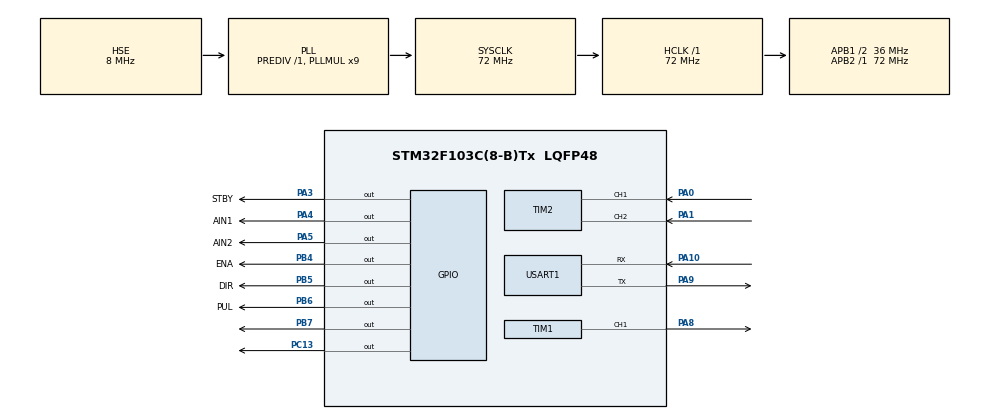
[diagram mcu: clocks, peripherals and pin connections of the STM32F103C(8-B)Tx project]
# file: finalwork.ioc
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Mcu.Family=STM32F1
Mcu.Name=STM32F103C(8-B)Tx
Mcu.Package=LQFP48
NVIC.PriorityGroup=NVIC_PRIORITYGROUP_4
NVIC.TIM1_UP_IRQn=true\:0\:0\:false\:false\:true\:true\:true\:true
PA0-WKUP.Signal=S_TIM2_CH1_ETR
PA1.Signal=S_TIM2_CH2
PA10.Mode=Asynchronous
PA10.Signal=USART1_RX
PA13.Mode=Serial_Wire
PA13.Signal=SYS_JTMS-SWDIO
PA14.Mode=Serial_Wire
PA14.Signal=SYS_JTCK-SWCLK
PA3.GPIO_Label=STBY
PA3.GPIO_PuPd=GPIO_PULLDOWN
PA3.Signal=GPIO_Output
PA4.GPIO_Label=AIN1
PA4.GPIO_PuPd=GPIO_PULLDOWN
PA4.Signal=GPIO_Output
PA5.GPIO_Label=AIN2
PA5.GPIO_PuPd=GPIO_PULLDOWN
PA5.Signal=GPIO_Output
PA8.Signal=S_TIM1_CH1
PA9.Mode=Asynchronous
PA9.Signal=USART1_TX
PB4.GPIO_Label=ENA
PB4.GPIO_PuPd=GPIO_PULLDOWN
PB4.Signal=GPIO_Output
PB5.GPIO_Label=DIR
PB5.GPIO_PuPd=GPIO_PULLDOWN
PB5.Signal=GPIO_Output
PB6.GPIO_Label=PUL
PB6.GPIO_PuPd=GPIO_PULLDOWN
PB6.Signal=GPIO_Output
PB7.GPIO_PuPd=GPIO_PULLDOWN
PB7.Signal=GPIO_Output
PC13-TAMPER-RTC.GPIO_PuPd=GPIO_PULLDOWN
PC13-TAMPER-RTC.Signal=GPIO_Output
PD0-OSC_IN.Mode=HSE-External-Oscillator
PD0-OSC_IN.Signal=RCC_OSC_IN
PD1-OSC_OUT.Mode=HSE-External-Oscillator
PD1-OSC_OUT.Signal=RCC_OSC_OUT
ProjectManager.HeapSize=0x200
ProjectManager.StackSize=0x400
ProjectManager.TargetToolchain=Makefile
RCC.AHBFreq_Value=72000000
RCC.APB1CLKDivider=RCC_HCLK_DIV2
RCC.APB1Freq_Value=36000000
RCC.APB1TimFreq_Value=72000000
RCC.APB2Freq_Value=72000000
RCC.APB2TimFreq_Value=72000000
RCC.HCLKFreq_Value=72000000
RCC.PLLMUL=RCC_PLL_MUL9
RCC.PLLSourceVirtual=RCC_PLLSOURCE_HSE
RCC.SYSCLKFreq_VALUE=72000000
RCC.SYSCLKSource=RCC_SYSCLKSOURCE_PLLCLK
RCC.USBFreq_Value=72000000
SH.S_TIM1_CH1.0=TIM1_CH1,PWM Generation1 CH1
SH.S_TIM2_CH1_ETR.0=TIM2_CH1,Encoder_Interface
SH.S_TIM2_CH2.0=TIM2_CH2,Encoder_Interface
TIM1.Channel-PWM\ Generation1\ CH1=TIM_CHANNEL_1
TIM1.Period=1000-1
TIM1.Prescaler=720-1
TIM2.EncoderMode=TIM_ENCODERMODE_TI12
TIM3.Prescaler=72-1
USART1.VirtualMode=VM_ASYNC
VP_TIM1_VS_ClockSourceINT.Mode=Internal
VP_TIM3_VS_ClockSourceINT.Mode=Internal
board=custom

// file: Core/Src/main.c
/* USER CODE BEGIN Header */
/**
  ******************************************************************************
  * @file           : main.c
  * @brief          : Main program body
  ******************************************************************************
  * @attention
  *
  * Copyright (c) 2025 STMicroelectronics.
  * All rights reserved.
  *
  * This software is licensed under terms that can be found in the LICENSE file
  * in the root directory of this software component.
  * If no LICENSE file comes with this software, it is provided AS-IS.
  *
  ******************************************************************************
  */
/* USER CODE END Header */
#include "main.h"
#include "tim.h"
#include "usart.h"
#include "gpio.h"

/* USER CODE BEGIN Includes */
#include "motor.h"
#include "step.h"
/* USER CODE END Includes */

/* USER CODE BEGIN PD */
#define DELAY_TIME 15
Motor_t motor;
/* USER CODE END PD */

void SystemClock_Config(void);

int main(void)
{

  /* MCU Configuration--------------------------------------------------------*/

  /* Reset of all peripherals, Initializes the Flash interface and the Systick. */
  HAL_Init();

  /* Configure the system clock */
  SystemClock_Config();

  /* Initialize all configured peripherals */
  MX_GPIO_Init();
  MX_TIM1_Init();
  MX_TIM2_Init();
  MX_TIM3_Init();
  MX_USART1_UART_Init();
  /* USER CODE BEGIN 2 */

  HAL_TIM_Base_Start_IT(&htim1);
  HAL_TIM_Base_Start(&htim2);
  __HAL_TIM_SET_COUNTER(&htim2,0);
  HAL_TIM_PWM_Start(&htim1,TIM_CHANNEL_1);
  HAL_TIM_Encoder_Start(&htim2,TIM_CHANNEL_1);
  HAL_TIM_Encoder_Start(&htim2,TIM_CHANNEL_2);

  Motor_Init(&motor);

  step_init();
  step_dir_set(0);
  step_enable();
  /* USER CODE END 2 */

  /* Infinite loop */
  /* USER CODE BEGIN WHILE */
  while (1)
  {

    // HAL_GPIO_WritePin(GPIOA, AIN1_Pin, 0);

    // HAL_GPIO_WritePin(GPIOA, AIN2_Pin, 1);
    // __HAL_TIM_SET_COMPARE(&htim1, TIM_CHANNEL_1, 200);
    // while(1);
    HAL_Delay(1000);

    __HAL_TIM_SET_COUNTER(&htim2,0);
    Motor_Init(&motor);
    motor.motor_pospid.outputMax = 600;
    motor.motor_speedpid.outputMax = 600;
    Motor_Enable(&motor);
    angle_ctrl(&motor, -523);
    Motor_Disable(&motor);

    HAL_Delay(3);
    step_dir_set(0);
    step_set(1.1);

    HAL_Delay(DELAY_TIME);
    __HAL_TIM_SET_COUNTER(&htim2,0);
    Motor_Init(&motor);
    Motor_Enable(&motor);
    angle_ctrl(&motor, 43);
    Motor_Disable(&motor);

    HAL_Delay(3);
    step_dir_set(1);
    step_set(2.2);

    HAL_Delay(DELAY_TIME);
    __HAL_TIM_SET_COUNTER(&htim2,0);
    Motor_Init(&motor);
    Motor_Enable(&motor);
    angle_ctrl(&motor, 700);
    Motor_Disable(&motor);

    HAL_Delay(3);
    step_dir_set(0);
    step_set(0.8);

    HAL_Delay(DELAY_TIME);
    __HAL_TIM_SET_COUNTER(&htim2,0);
    Motor_Init(&motor);
    motor.motor_pospid.outputMax = 750;
    motor.motor_speedpid.outputMax = 750;
    Motor_Enable(&motor);
    angle_ctrl(&motor, -490);
    Motor_Disable(&motor);

    while(1);

    //转动顺序预设
    // angle_ctrl(motor,1);
    // HAL_Delay(100);
    // step_set(1);
    // HAL_Delay(100);
    // angle_ctrl(motor,1);
    // HAL_Delay(100);
    // step_set(1);

    /* USER CODE END WHILE */

  }
}

void SystemClock_Config(void)
{
  RCC_OscInitTypeDef RCC_OscInitStruct = {0};
  RCC_ClkInitTypeDef RCC_ClkInitStruct = {0};

  /** Initializes the RCC Oscillators according to the specified parameters
  * in the RCC_OscInitTypeDef structure.
  */
  RCC_OscInitStruct.OscillatorType = RCC_OSCILLATORTYPE_HSE;
  RCC_OscInitStruct.HSEState = RCC_HSE_ON;
  RCC_OscInitStruct.HSEPredivValue = RCC_HSE_PREDIV_DIV1;
  RCC_OscInitStruct.HSIState = RCC_HSI_ON;
  RCC_OscInitStruct.PLL.PLLState = RCC_PLL_ON;
  RCC_OscInitStruct.PLL.PLLSource = RCC_PLLSOURCE_HSE;
  RCC_OscInitStruct.PLL.PLLMUL = RCC_PLL_MUL9;
  if (HAL_RCC_OscConfig(&RCC_OscInitStruct) != HAL_OK)
  {
    Error_Handler();
  }

  /** Initializes the CPU, AHB and APB buses clocks
  */
  RCC_ClkInitStruct.ClockType = RCC_CLOCKTYPE_HCLK|RCC_CLOCKTYPE_SYSCLK
                              |RCC_CLOCKTYPE_PCLK1|RCC_CLOCKTYPE_PCLK2;
  RCC_ClkInitStruct.SYSCLKSource = RCC_SYSCLKSOURCE_PLLCLK;
  RCC_ClkInitStruct.AHBCLKDivider = RCC_SYSCLK_DIV1;
  RCC_ClkInitStruct.APB1CLKDivider = RCC_HCLK_DIV2;
  RCC_ClkInitStruct.APB2CLKDivider = RCC_HCLK_DIV1;

  if (HAL_RCC_ClockConfig(&RCC_ClkInitStruct, FLASH_LATENCY_2) != HAL_OK)
  {
    Error_Handler();
  }
}

/* USER CODE BEGIN 4 */
//TIM1��ʱ���ж�
void HAL_TIM_PeriodElapsedCallback(TIM_HandleTypeDef *htim)
{
  if(htim->Instance == TIM1)
  {
      motor.pid_flag = 1;
  }
}
/* USER CODE END 4 */

void Error_Handler(void)
{
  __disable_irq();
  while (1)
  {
  }
}
